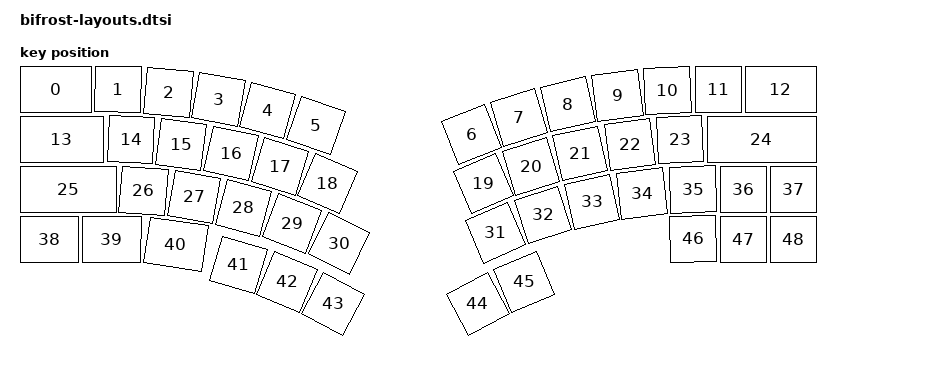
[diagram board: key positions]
/*
 * Copyright (c) 2026 hringdrifi
 * SPDX-License-Identifier: MIT
 */

#include <physical_layouts.dtsi>

/ {
    bifrost_physical_layout: bifrost_physical_layout {
        compatible = "zmk,physical-layout";
        display-name = "Bifrost";
        transform = <&default_transform>;
        kscan = <&kscan0>;

        /*
         * Generated from the Bifrost Smiðr project. The trackball object is
         * intentionally omitted. Entries follow default_transform order.
         */
        keys  //                     w   h     x    y     rot    rx   ry
            = <&key_physical_attrs 150 100     0    0       0     0    0> /*  0: TAB */
            , <&key_physical_attrs 100 100   150    0     115   200   50> /*  1: Q */
            , <&key_physical_attrs 100 100   251    6     574   301   56> /*  2: W */
            , <&key_physical_attrs 100 100   351   20    1032   401   70> /*  3: E */
            , <&key_physical_attrs 100 100   449   42    1491   499   92> /*  4: R */
            , <&key_physical_attrs 100 100   546   72    1950   596  122> /*  5: T */
            , <&key_physical_attrs 100 100   857   90 (-2179)   907  140> /*  6: Y */
            , <&key_physical_attrs 100 100   952   56 (-1720)  1002  106> /*  7: U */
            , <&key_physical_attrs 100 100  1050   30 (-1262)  1100   80> /*  8: I */
            , <&key_physical_attrs 100 100  1149   12  (-803)  1199   62> /*  9: O */
            , <&key_physical_attrs 100 100  1249    2  (-344)  1299   52> /* 10: P */
            , <&key_physical_attrs 100 100  1350    0       0  1350    0> /* 11: QUOT */
            , <&key_physical_attrs 150 100  1450    0       0  1450    0> /* 12: BSLS */
            , <&key_physical_attrs 175 100     0  100       0     0  100> /* 13: CAPS */
            , <&key_physical_attrs 100 100   176  101     250   226  151> /* 14: A */
            , <&key_physical_attrs 100 100   276  110     750   326  160> /* 15: S */
            , <&key_physical_attrs 100 100   376  128    1250   426  178> /* 16: D */
            , <&key_physical_attrs 100 100   474  154    1750   524  204> /* 17: F */
            , <&key_physical_attrs 100 100   569  188    2250   619  238> /* 18: G */
            , <&key_physical_attrs 100 100   881  188 (-2250)   931  238> /* 19: H */
            , <&key_physical_attrs 100 100   976  154 (-1750)  1026  204> /* 20: J */
            , <&key_physical_attrs 100 100  1074  128 (-1250)  1124  178> /* 21: K */
            , <&key_physical_attrs 100 100  1174  110  (-750)  1224  160> /* 22: L */
            , <&key_physical_attrs 100 100  1274  101  (-250)  1324  151> /* 23: SCLN */
            , <&key_physical_attrs 225 100  1375  100       0  1375  100> /* 24: ENT */
            , <&key_physical_attrs 200 100     0  200       0     0  200> /* 25: MO(1) */
            , <&key_physical_attrs 100 100   201  203     412   251  253> /* 26: Z */
            , <&key_physical_attrs 100 100   302  215     961   352  265> /* 27: X */
            , <&key_physical_attrs 100 100   401  237    1511   451  287> /* 28: C */
            , <&key_physical_attrs 100 100   498  268    2060   548  318> /* 29: V */
            , <&key_physical_attrs 100 100   592  308    2609   642  358> /* 30: B */
            , <&key_physical_attrs 100 100   905  287 (-2335)   955  337> /* 31: N */
            , <&key_physical_attrs 100 100  1000  251 (-1785)  1050  301> /* 32: M */
            , <&key_physical_attrs 100 100  1098  225 (-1236)  1148  275> /* 33: COMM */
            , <&key_physical_attrs 100 100  1198  208  (-687)  1248  258> /* 34: DOT */
            , <&key_physical_attrs 100 100  1300  200  (-137)  1350  250> /* 35: SLSH */
            , <&key_physical_attrs 100 100  1400  200       0  1400  200> /* 36: UP */
            , <&key_physical_attrs 100 100  1500  200       0  1500  200> /* 37: RSFT */
            , <&key_physical_attrs 125 100     0  300       0     0  300> /* 38: LCTL */
            , <&key_physical_attrs 125 100   125  300      77   188  350> /* 39: LGUI */
            , <&key_physical_attrs 125 100   253  310     843   316  360> /* 40: LALT */
            , <&key_physical_attrs 100 100   391  351    1632   441  401> /* 41: BSPC */
            , <&key_physical_attrs 100 100   488  385    2250   538  435> /* 42: SPC */
            , <&key_physical_attrs 100 100   580  429    2868   630  479> /* 43: DEL */
            , <&key_physical_attrs 100 100   870  429 (-2868)   920  479> /* 44: ESC */
            , <&key_physical_attrs 100 100   962  385 (-2250)  1012  435> /* 45: SPC */
            , <&key_physical_attrs 100 100  1299  300  (-152)  1299  300> /* 46: LEFT */
            , <&key_physical_attrs 100 100  1400  300       0  1400  300> /* 47: DOWN */
            , <&key_physical_attrs 100 100  1500  300       0  1500  300> /* 48: RIGHT */
            ;
    };
};
